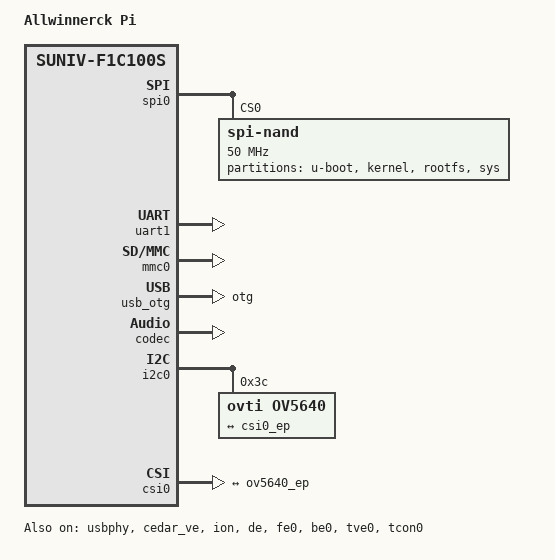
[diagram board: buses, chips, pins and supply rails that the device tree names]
// SPDX-License-Identifier: (GPL-2.0+ OR X11)

/dts-v1/;
#include "suniv-f1c100s.dtsi"

/ {
	model = "Allwinnerck Pi";
	compatible = "allwinner,suniv-f1c200s",
			 "allwinner,suniv-f1c100s";

	aliases {
		serial0 = &uart1;
	};

	chosen {
		#address-cells = <1>;
		#size-cells = <1>;
		ranges;

		stdout-path = "serial0:115200n8";
	};
};

&spi0 {
	status = "okay";
	spi-nand@0 {
		#address-cells = <1>;
		#size-cells = <1>;
		reg = <0>;
		compatible = "spi-nand", "allwinner,sun4i-a10-nand";
		spi-max-frequency = <50000000>;
		partitions {
			compatible = "fixed-partitions";
			#address-cells = <1>;
			#size-cells = <1>;
			partition@0 {
				label = "u-boot";
				reg = <0x000000 0x80000>;
				read-only;
				};
			partition@1 {
				label = "kernel";
				reg = <0x100000 0x500000>;
				read-only;
			};
			partition@2 {
                label = "rootfs";
                reg = <0x600000 0xA00000>;
				read-only;
			};
			partition@3 {
                label = "sys";
                reg = <0x1000000 0x7000000>;
				read-only;
			};
		};
	};
};

&uart0 {
	pinctrl-names = "default";
	pinctrl-0 = <&uart0_pe_pins>;
	// status = "okay";
};

&uart1 {
	pinctrl-names = "default";
	pinctrl-0 = <&uart1_pa_pins>;
	status = "okay";
};

&mmc0 {
	status = "okay";
	broken-cd;
};

&otg_sram {
	status = "okay";
};

&usb_otg {
	dr_mode = "otg"; /* host device */
	status = "okay";
};

&usbphy {
	status = "okay";
	usb0_id_det-gpios = <&pio 0 1 (GPIO_ACTIVE_HIGH | GPIO_PULL_UP)>; /* PA1 */
};

&cedar_ve {
	status = "okay";
};

&ion {
	status = "okay";
};

&de {
	status = "okay";
};

&fe0 {
	status = "okay";
};

&be0 {
	status = "okay";
};

&tve0 {
	status = "okay";
};

&tcon0 {
	pinctrl-names = "default";
	pinctrl-0 = <&lcd_rgb565_pins>;
	status = "okay";
};

&codec {
	allwinner,audio-routing =
		"Headphone", "HP",
		"Headphone", "HPCOM",
		"LINEIN", "Line In",
		"FMINL", "Left FM In",
		"FMINR", "Right FM In",
		"MIC", "Mic";
	status = "okay";
};

&i2c0 {
	pinctrl-names = "default";
	pinctrl-0 = <&i2c0_pd_pins>;
	status = "okay";

	ov2640: camera@30 {
		compatible = "ovti,ov2640";
		reg = <0x30>;
		pinctrl-0 = <&clk_out_pins>;
		pinctrl-names = "default";
		clocks = <&clk_out>;
		clock-names = "xvclk";
		assigned-clocks = <&clk_out>;
		assigned-clock-rates = <24000000>;
		status = "disabled";
		port {
			ov2640_ep: endpoint {
				remote-endpoint = <&csi0_ep>;
				bus-width = <8>;
				hsync-active = <0>;
				vsync-active = <0>;
				pclk-sample = <1>;
			};
		};
	};

	ov5640: camera@3c {
		compatible = "ovti,ov5640";
		reg = <0x3c>;
		pinctrl-0 = <&clk_out_pins>;
		pinctrl-names = "default";
		clocks = <&clk_out>;
		clock-names = "xclk";
		assigned-clocks = <&clk_out>;
		assigned-clock-rates = <24000000>;
		rotation = <0>;
		//reset-gpios = <&pio 0 1 GPIO_ACTIVE_LOW>;
		status = "okay";
		port {
			ov5640_ep: endpoint {
				remote-endpoint = <&csi0_ep>;
				bus-width = <8>;
				hsync-active = <0>;
				vsync-active = <0>;
				pclk-sample = <1>;
			};
		};
	};
};

&csi0 {
	pinctrl-names = "default";
	pinctrl-0 = <&csi0_pins>;
	packed-format;
	status = "okay";

	port {
		csi0_ep: endpoint {
			remote-endpoint = <&ov5640_ep>;
			bus-width = <8>;
			hsync-active = <0>;
			vsync-active = <0>;
			pclk-sample = <1>;
		};
	};
};
